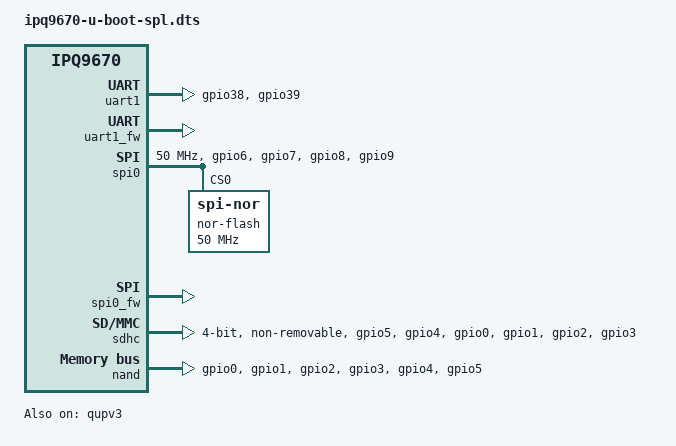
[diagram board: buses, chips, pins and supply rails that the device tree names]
// SPDX-License-Identifier: GPL-2.0-only
/*
 * Copyright (c) Qualcomm Technologies, Inc. and/or its subsidiaries.
 */

/dts-v1/;

#include <dt-bindings/interrupt-controller/arm-gic.h>
#include <asm/arch/dt-bindings/clock/qcom,ipq9670-gcc.h>
#include <asm/arch/dt-bindings/reset/qcom,ipq9670-gcc.h>
#include <dt-bindings/gpio/gpio.h>

/ {
	compatible = "qcom,ipq9670-emulation", "qcom,ipq9670";

	#address-cells = <2>;
	#size-cells = <2>;

	aliases {
		serial0 = &uart1;
	};

	chosen {
		stdout-path = "serial0:115200n8";
	};

	reserved-memory {
		#address-cells = <2>;
		#size-cells = <2>;
		ranges;

		smem_mem: smem_region@8a800000 {
			bootph-all;
			reg = <0x0 0x8a800000 0x0 0x32000>;
			no-map;
		};
	};

	smem {
		bootph-all;
		compatible = "qcom,smem";
		memory-region = <&smem_mem>;
	};

	soc@0 {
		compatible = "simple-bus";
		#address-cells = <2>;
		#size-cells = <2>;
		ranges = <0 0 0 0 0x10 0>;

		tlmm: pinctrl@1000000 {
			bootph-all;
			compatible = "qcom,ipq9670-tlmm";
			reg = <0 0x01000000 0 0x300000>;
			gpio-controller;
			#gpio-cells = <2>;
			gpio-ranges = <&tlmm 0 0 53>;
			interrupt-controller;
			#interrupt-cells = <2>;

			uart1_pins: uart1-state {
				bootph-all;
				pins = "gpio38", "gpio39";
				function = "uart1";
				drive-strength = <8>;
				bias-pull-up;
			};
		};

		gcc: clock-controller@1800000 {
			bootph-all;
			compatible = "qcom,ipq9670-gcc";
			reg = <0 0x01800000 0 0x40000>;
			#clock-cells = <1>;
			#reset-cells = <1>;
			#power-domain-cells = <1>;
		};

		qupv3: geniqup@1ac0000 {
			bootph-all;
			compatible = "qcom,geni-se-qup";
			reg = <0 0x01ac0000 0 0x2000>;
			clocks = <&gcc GCC_QUPV3_AHB_MST_CLK>,
				 <&gcc GCC_QUPV3_AHB_SLV_CLK>;
			clock-names = "m-ahb", "s-ahb";
			ranges;
			#address-cells = <2>;
			#size-cells = <2>;

			status = "disabled";

			uart1: serial@1a84000 {
				bootph-all;
				compatible = "qcom,geni-debug-uart";
				reg = <0 0x1a84000 0 0x4000>;
				clocks = <&gcc GCC_QUPV3_UART1_CLK>;
				clock-names = "se";
				status = "disabled";
			};
		};

		sdhc: mmc@7804000 {
			bootph-all;
			compatible = "qcom,ipq9670-sdhci", "qcom,sdhci-msm-v5";
			reg = <0 0x07804000 0 0x1000>, <0 0x07805000 0 0x1000>;
			reg-names = "hc", "cqhci";

			clocks = <&gcc GCC_SDCC1_AHB_CLK>,
				 <&gcc GCC_SDCC1_APPS_CLK>;
			clock-names = "iface", "core";

			status = "disabled";
		};
		nand: nand-controller@79B0000 {
			bootph-all;
			compatible = "qti,spi-nand-v2.1.3";
			#address-cells = <2>;
			#size-cells = <2>;
			reg = <0x0 0x79B0000 0x0 0x10000>;
			assigned-clocks = <&gcc GCC_QPIC_CLK>,
					 <&gcc GCC_QPIC_IO_MACRO_CLK>;
			assigned-clock-rates = <100000000>, <50000000>;
			clock-names = "qpic-clk",
				      "qpic-io-macro-clk",
				      "qpic-ahb-clk";
			clocks = <&gcc GCC_QPIC_CLK>,
				<&gcc GCC_QPIC_IO_MACRO_CLK>,
				<&gcc GCC_QPIC_AHB_CLK>;

			bam_reg = <0x07984000>;
			status_pipe = <3>;
			status_pipe_grp = <0>;
			read_pipe = <1>;
			read_pipe_grp = <0>;
			write_pipe = <0>;
			write_pipe_grp = <0>;
			cmd_pipe = <2>;
			cmd_pipe_grp = <1>;
			pinctrl-0 = <&qspi_pinmux>;
			pinctrl-names = "default";
			status = "okay";
		};
	};
};

&tlmm {
	uart1_pins: uart1-state {
		bootph-all;
	};

	sdc_default_state: sdc-default-state {
		bootph-all;
		clk-pins {
			bootph-all;
			pins = "gpio5";
			function = "sdc_clk";
			drive-strength = <8>;
			bias-disable;
		};

		cmd-pins {
			bootph-all;
			pins = "gpio4";
			function = "sdc_cmd";
			drive-strength = <8>;
			bias-pull-up;
		};

		data-pins {
			bootph-all;
			pins = "gpio0", "gpio1", "gpio2", "gpio3";
			function = "sdc_data";
			drive-strength = <8>;
			bias-pull-up;
		};
	};

	spi0_pinmux: spi0 {
		bootph-all;
		spi0_sclk {
			bootph-all;
			pins = "gpio6";
			function = "spi0_clk";
			drive-strength = <8>;
			bias-pull-down;
		};

		spi0_cs0 {
			bootph-all;
			pins = "gpio7";
			function = "spi0_cs";
			drive-strength = <8>;
			bias-pull-up;
		};

		spi0_miso {
			bootph-all;
			pins = "gpio8";
			function = "spi0_miso";
			drive-strength = <8>;
			bias-pull-down;
		};

		spi0_mosi {
			bootph-all;
			pins = "gpio9";
			function = "spi0_mosi";
			drive-strength = <8>;
			bias-pull-down;
		};
	};

	qspi_pinmux: nand {
		bootph-all;
		qspi_data {
			bootph-all;
			pins = "gpio0", "gpio1", "gpio2","gpio3";
			function = "qspi_data";
			drive-strength = <8>;
			bias-pull-up;
		};

		qspi_cs_n {
			bootph-all;
			pins = "gpio4";
			function = "qspi_cs";
			drive-strength = <8>;
			bias-pull-up;
		};

		qspi_clk {
			bootph-all;
			pins = "gpio5";
			function = "qspi_clk";
			drive-strength = <8>;
			bias-disable;
		};
	};
};

&sdhc {
	bootph-all;
	bus-width = <4>;
	max-frequency = <192000000>;
	mmc-ddr-1_8v;
	non-removable;
	pinctrl-0 = <&sdc_default_state>;
	pinctrl-names = "default";
	sdhci-caps-mask = <0x0 0x04000000>;
	sdhci-caps = <0x0 0x04000000>;
	resets = <&gcc GCC_SDCC_BCR>;
	reset-names = "bcr_rst";
	status = "okay";
};

&qupv3 {
	bootph-all;
	status = "okay";
	uart1: serial@1a84000 {
		bootph-all;
		pinctrl-0 = <&uart1_pins>;
		pinctrl-names = "default";
		qup-se-fw-load = <&uart1_fw>;
		status = "okay";
	};

	uart1_fw: uart_firmware@0 {
		bootph-all;
		compatible = "qcom,ipq9670-geni-uart-fw-v1", "qcom,geni-uart-fw-v1";
		reg = <0 0x01a84000 0 0x4000>;
		status = "okay";
	};
	spi0: spi@1a80000 {
		bootph-all;
		compatible = "qcom-ipq9670-geni-spi","qcom-ipq5424-geni-spi";
		reg = <0 0x1a80000 0 0x4000>;
		reg-names = "se_phys";
		clocks = <&gcc GCC_QUPV3_SPI0_CLK>;
		clock-names = "se-spi-clk";
		clock-frequency = <50000000>;
		nor-blk-enable;
		status = "okay";
		#address-cells = <1>;
		#size-cells = <0>;
		qup-se-fw-load = <&spi0_fw>;

		pinctrl-0 = <&spi0_pinmux>;
		pinctrl-names = "default";

		nor-flash@0 {
			bootph-all;
			compatible = "jedec,spi-nor";
			reg = <0 0 0 0>;
			spi-max-frequency = <50000000>;
		};
	};

	spi0_fw: spi_firmware@0 {
		bootph-all;
		compatible = "qcom,ipq9670-geni-spi-fw-v1",
			     "qcom,geni-spi-fw-v1";
		reg = <0 0x1a80000 0 0x4000>;
		reg-names = "se_phys";
	};
};
